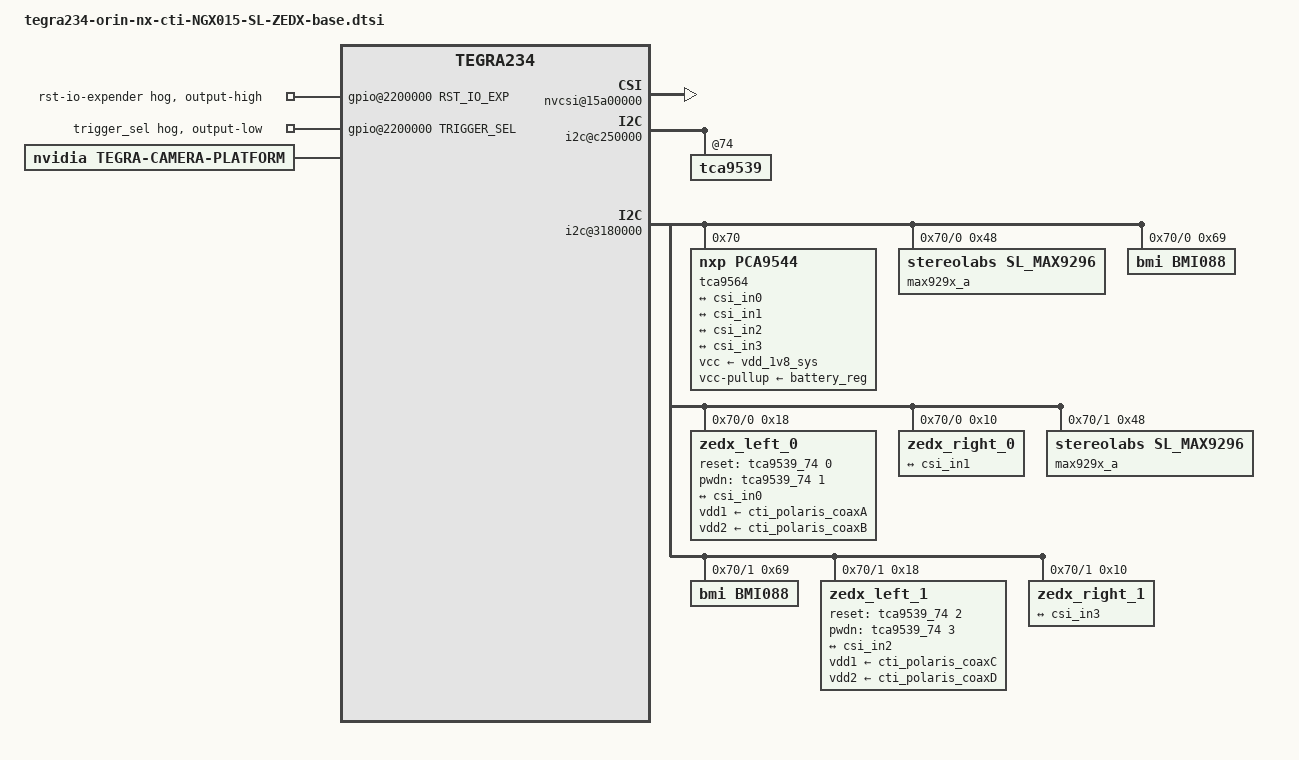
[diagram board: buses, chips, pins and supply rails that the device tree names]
/*
 * Copyright (c) 2022, Connect Tech Inc.  All rights reserved.
 *
 * This program is free software; you can redistribute it and/or modify it
 * under the terms and conditions of the GNU General Public License,
 * version 2, as published by the Free Software Foundation.
 *
 * This program is distributed in the hope it will be useful, but WITHOUT
 * ANY WARRANTY; without even the implied warranty of MERCHANTABILITY or
 * FITNESS FOR A PARTICULAR PURPOSE.  See the GNU General Public License for
 * more details.
 *
 * You should have received a copy of the GNU General Public License
 * along with this program.  If not, see <http://www.gnu.org/licenses/>.
 */

//#include "tegra234-orin-agx-cti-csi.dtsi"
#include "dt-bindings/clock/tegra234-clock.h"

#define SENSOR_COMMON compatible = "stereolabs,zedx"; \
                        clocks = <&bpmp_clks TEGRA234_CLK_EXTPERIPH1>, \
                        <&bpmp_clks TEGRA234_CLK_EXTPERIPH1>; \
                        clock-names = "extperiph1", "pllp_grtba"; \
                        mclk = "extperiph1"; \
                        has-eeprom; \
                        vertical-flip = "true"; \
                        sensor_model ="zedx"; \
                        post_crop_frame_drop = "0"; \
                        use_sensor_mode_id = "true"; \
                        physical_w = "15.0"; \
                        physical_h = "12.5";                        

#define RST_IO_EXP TEGRA234_MAIN_GPIO(AC,1)
#define TRIGGER_SEL TEGRA234_MAIN_GPIO(I,0) //CAM0_RST
#define PWM_CALIB_GPIO TEGRA234_MAIN_GPIO(H,7) //CAM0_PWDN

#define PWR_EN        TEGRA234_MAIN_GPIO(AC, 7)
#define CAM_LANES 2
#define CAM_LANES_STRING "2" 
#define TEGRA_SINTERFACE "serial_g"
#define MODE_VC "0"

#include "tegra234-orin-nx-cti-camera-SL-ZEDX-modes.dtsi"

#define VC_ID0 "0"
#define VC_ID1 "1"
#define VC_ID0_PORTS 0
#define VC_ID1_PORTS 1

&cti_polaris_coaxA{
	regulator-always-on;
};
&cti_polaris_coaxB{
	regulator-always-on;
};
&cti_polaris_coaxC{
	regulator-always-on;
};
&cti_polaris_coaxD{
	regulator-always-on;
};

/ {
    tegra-capture-vi {
        status = "okay";
        num-channels = <4>;
        ports {
            #address-cells = <1>;
            #size-cells = <0>;
            status = "okay";
            port@0 {
                reg = <0>;
                status = "okay";
                vi_in0: endpoint {
                    vc-id = <0>;
                    port-index = <0>;
                    status = "okay";
                    bus-width = <CAM_LANES>;
                    remote-endpoint = <&csi_out0>;
                };
            };
            port@1 {
                status = "okay";
                reg = <1>;
                vi_in1: endpoint {
                    vc-id = <1>;
                    port-index = <0>;
                    status = "okay";
                    bus-width = <CAM_LANES>;
                     remote-endpoint = <&csi_out1>;
                };
            };
            port@2 {
                status = "okay";
                reg = <2>;
                vi_in2: endpoint {
                    vc-id = <0>;
                    port-index = <2>;
                    bus-width = <CAM_LANES>;
                    remote-endpoint = <&csi_out2>;
                    status = "okay";
                };
            };
            port@3{
                status = "okay";
                reg = <3>;
                vi_in3: endpoint {
                    vc-id = <1>;
                    port-index = <2>;
                    bus-width = <CAM_LANES>;
                    remote-endpoint = <&csi_out3>;
                    status = "okay";
                };
            };
        };
    };

    host1x@13e00000 {
        nvcsi@15a00000 {
        num-channels = <4>;
        #address-cells = <1>;
        #size-cells = <0>;
            status = "okay";
            channel@0 {
                status = "okay";
                reg = <0>;
                ports {
                #address-cells = <1>;
                 #size-cells = <0>;
                    port@0 {
                        status = "okay";
                        reg = <0>;
                        csi_in0: endpoint@0 {
                            status = "okay";
                            port-index = <0>;
                            bus-width = <CAM_LANES>;
                            remote-endpoint = <&cam_out0>;
                        };
                    };
                    port@1 {
                        status = "okay";
                        reg = <1>;
                        csi_out0: endpoint@1 {
                            status = "okay";
                            port-index = <0>;
                            bus-width = <CAM_LANES>;
                            remote-endpoint = <&vi_in0>;
                        };
                    };
                };
            };
            channel@1 {
                status = "okay";
                reg = <1>;
                ports {
                #address-cells = <1>;
                #size-cells = <0>;
                        
                port@0 {
                        reg = <0>;
                        status = "okay";
                        csi_in1: endpoint@2 {
                            status = "okay";
                            port-index = <0>;
                            bus-width = <CAM_LANES>;
                            remote-endpoint = <&cam_out1>;
                          };
                        };
                 port@1 {
                        status = "okay";
                        reg = <1>;
                        csi_out1: endpoint@3 {
                            status = "okay";
                            port-index = <0>;
                            bus-width = <CAM_LANES>;
                            remote-endpoint = <&vi_in1>;
                        };
                    };
                };
            };
        channel@2 {
                status = "okay";
                reg = <2>;
                ports {
                    #address-cells = <1>;
                    #size-cells = <0>;
                    port@0 {
                        status = "okay";
                         reg = <0>;
                        csi_in2: endpoint@4 {
                            status = "okay";
                            port-index = <2>;
                             bus-width = <CAM_LANES>;
                            remote-endpoint = <&cam_out2>;
                        };
                    };
                    port@1 {
                        status = "okay";
                        reg = <1>;
                        csi_out2: endpoint@5 {
                            status = "okay";
                            port-index = <2>;
                            bus-width = <CAM_LANES>;
                            remote-endpoint = <&vi_in2>;
                        };
                    };
                };
            };
            channel@3 {
                status = "okay";
                reg = <3>;
                ports {
                #address-cells = <1>;
                #size-cells = <0>;
                    
                    port@0 {
                        reg = <0>;
                        status = "okay";
                        csi_in3: endpoint@6 {
                            status = "okay";
                            port-index = <2>;
                            bus-width = <CAM_LANES>;
                            remote-endpoint = <&cam_out3>;
                        };
                    };
                    port@1 {
                        status = "okay";
                        reg = <1>;
                        csi_out3: endpoint@7 {
                            status = "okay";
                            port-index = <2>;
                            bus-width = <CAM_LANES>;
                            remote-endpoint = <&vi_in3>;
                        };
                    };
                };
            };
        };
    };


    gpio@2200000 {
        camera-control-output-high {
            status = "okay";
            gpio-hog;
            gpios = <RST_IO_EXP 0>;
            output-high;
            label = "rst-io-expender"; 
        };
        camera-control-output-low {
            status = "okay";
            gpio-hog;
            gpios = <TRIGGER_SEL 0>;
            output-low;
            label = "trigger_sel";
        };
    };

    
    i2c@c250000 {

        tca9539@74 {
            tca9539_74_outlow {
                status = "okay";
                gpio-hog;
                gpios = <0 0 1 0 2 0 3 0 4 0 9 0 10 0>;
                output-low;
                gpio-line-names = "RST_A","PWDN_A","RST_B","PWDN_B","TEMP_SNS_PEN", "CFG_CTRL_Nch", "CFG_CTRL_Pch";
            };
            tca9539_74_outhigh {
                status = "okay";
                gpio-hog;
                gpios = < 5 0 6 0 7 0 8 0 11 0 12 0>;
                output-high;
                gpio-line-names = "CAM_PRST#_A","CAM_PRST#_B","CAM_PRST#_C", "CAM_PRST#_D","DES_STATE_RSTA", "DES_STATE_RSTB";
            };
            tca9539_74_input {
                status = "disabled";
            };

        };
    };

    i2c@3180000 {
    status = "okay";
    #address-cells = <1>;
    #size-cells = <0>;
    tca9564@70 {
        status = "okay";
        compatible = "nxp,pca9544";
        reg = <0x70>;
        #address-cells = <1>;
        #size-cells = <0>;
        vcc-supply = <&vdd_1v8_sys>;
        vcc-pullup-supply = <&battery_reg>;
        vcc_lp = "vcc";
        skip_mux_detect = "yes";
        force_bus_start = <0x1e>;
        i2c@0 {
            status = "okay";
            reg = <0>;
            i2c-mux,deselect-on-exit;
            #address-cells = <1>;
            #size-cells = <0>;

            /* deserializer MAX9296 at address 0x48*/
            max929x_a@48 {
                compatible = "stereolabs,sl_max9296";
                reg = <0x48>;
                channel = "a";
            };

            bmi088@69 {
                compatible = "bmi,bmi088";
                reg = <0x69>;
                status = "okay";
                accel_i2c_addr = <0x19>;
                accel_matrix = [01 00 00 00 01 00 00 00 01];
                gyro_matrix = [01 00 00 00 01 00 00 00 01];
            };
        
            /* ZED1 Left Cam*/
            zedx_left_0@18 {
                status = "okay";
                SENSOR_COMMON
                reg = <0x18>;
                def-addr = <0x18>;
                devnode = "video0";
                channel = "a";
                mode = "master";
            vdd1-reg = "vdd1";
            vdd2-reg = "vdd2";
            vdd1-supply = <&cti_polaris_coaxA>;
            vdd2-supply = <&cti_polaris_coaxB>;
                
				sync_sensor_index = <1>;                
                sync_sensor = "ZED_CAM1"; 
                /* For now, the master get the gpios */
                /* In the future, the deserializer will get them */
                reset-gpios = <&tca9539_74 0 GPIO_ACTIVE_HIGH>;
                pwdn-gpios = <&tca9539_74 1 GPIO_ACTIVE_HIGH>;
        //        pwr-gpios = <&tca9539_74 11 GPIO_ACTIVE_LOW>;//<&tegra_main_gpio PWR_EN GPIO_ACTIVE_HIGH>;

#undef TEGRA_SINTERFACE
#define LOCAL_VC_ID VC_ID0
#define TEGRA_SINTERFACE "serial_a"
#define LANE_POLARITY "6" 

                ZEDX_SENSOR_MODE0
                ZEDX_SENSOR_MODE1
                ZEDX_SENSOR_MODE2
                    
                ports {
                    #address-cells = <1>;
                    #size-cells = <0>;
                    port@0 {
                        reg = <0>;
                        cam_out0: endpoint {
                            vc-id = <0>;
                            port-index = <0>;
                            bus-width = <CAM_LANES>;
                            remote-endpoint = <&csi_in0>;
                        };
                    };
                };    

            };

            zedx_right_0@10 {
                status = "okay";
                SENSOR_COMMON
                reg = <0x10>;
                def-addr = <0x10>;
                devnode = "video1";
                channel = "a";
                mode = "slave";
                
				sync_sensor_index = <2>;                                
                sync_sensor = "ZED_CAM1"; 

#undef TEGRA_SINTERFACE
#undef LOCAL_VC_ID
#undef LANE_POLARITY
#define LOCAL_VC_ID VC_ID1
#define TEGRA_SINTERFACE "serial_a"
#define LANE_POLARITY "6"

                ZEDX_SENSOR_MODE0
                ZEDX_SENSOR_MODE1
                ZEDX_SENSOR_MODE2    
            
                ports {
                    #address-cells = <1>;
                    #size-cells = <0>;
                    port@0 {
                        reg = <0>;
                        cam_out1: endpoint {
                            vc-id = <1>;
                            port-index = <0>;
                            bus-width = <CAM_LANES>;
                            remote-endpoint = <&csi_in1>;
                        };
                    };
                };    
            };
         
        };

        i2c@1 {
        status = "okay";
        reg = <1>;
        i2c-mux,deselect-on-exit;
        #address-cells = <1>;
        #size-cells = <0>;
        
        /* deserializer MAX9296 at address 0x48*/
        max929x_a@48 {
            compatible = "stereolabs,sl_max9296";
            reg = <0x48>;
            channel = "b";
        };

        bmi088@69 {
            compatible = "bmi,bmi088";
            reg = <0x69>;
            status = "okay";
            accel_i2c_addr = <0x19>;
            accel_matrix = [01 00 00 00 01 00 00 00 01];
            gyro_matrix = [01 00 00 00 01 00 00 00 01];
            //accelerometer_irq_gpio = //figure out later
        };
    
        zedx_left_1@18 {
                status = "okay";
                SENSOR_COMMON
                reg = <0x18>;
                def-addr = <0x18>;
                devnode = "video2";
                channel = "b";
                mode = "master";
                
				sync_sensor = "ZED_CAM2";
				sync_sensor_index = <1>;
            vdd1-reg = "vdd1";
            vdd2-reg = "vdd2";
            vdd1-supply = <&cti_polaris_coaxC>;
            vdd2-supply = <&cti_polaris_coaxD>;
                
                /* For now, the master get the gpios */
                /* In the future, the deserializer will get them */
                reset-gpios = <&tca9539_74 2 GPIO_ACTIVE_HIGH>;
                pwdn-gpios = <&tca9539_74 3 GPIO_ACTIVE_HIGH>;
              //  pwr-gpios = <&tca9539_74 11 GPIO_ACTIVE_LOW>;//<&tegra_main_gpio PWR_EN GPIO_ACTIVE_HIGH>;
#undef TEGRA_SINTERFACE
#undef LOCAL_VC_ID
#undef LANE_POLARITY
#define LOCAL_VC_ID VC_ID0
#define TEGRA_SINTERFACE "serial_c"
#define LANE_POLARITY "0"

            ZEDX_SENSOR_MODE0
                ZEDX_SENSOR_MODE1
                ZEDX_SENSOR_MODE2
    
            ports {
                #address-cells = <1>;
                #size-cells = <0>;
                port@0 {
                    reg = <0>;
                    cam_out2: endpoint {
                        vc-id = <0>;
                        port-index = <2>;
                        bus-width = <CAM_LANES>;
                        remote-endpoint = <&csi_in2>;
                    };
                };
            };    

        };

        zedx_right_1@10 {
                status = "okay";
                SENSOR_COMMON
                reg = <0x10>;
                def-addr = <0x10>;
                devnode = "video3";
                channel = "b";
                mode = "slave";
                
				sync_sensor = "ZED_CAM2";
				sync_sensor_index = <2>;

#undef TEGRA_SINTERFACE
#undef LOCAL_VC_ID
#undef LANE_POLARITY
#define LOCAL_VC_ID VC_ID1
#define TEGRA_SINTERFACE "serial_c"
#define LANE_POLARITY "0"
                
            ZEDX_SENSOR_MODE0
                ZEDX_SENSOR_MODE1
                ZEDX_SENSOR_MODE2
        
            ports {
                #address-cells = <1>;
                #size-cells = <0>;
                port@0 {
                    reg = <0>;
                    cam_out3: endpoint {
                        vc-id = <1>;
                        port-index = <2>;
                        bus-width = <CAM_LANES>;
                        remote-endpoint = <&csi_in3>;
                    };
                };
            };    
        };
        };

        };
    };

    tegra-camera-platform {
        num_csi_lanes = <8>;
        max_lane_speed = <4000000>;
        min_bits_per_pixel = <10>;
        vi_peak_byte_per_pixel = <2>;
        vi_bw_margin_pct = <25>;
    //max_pixel_rate = <750000>;
        isp_peak_byte_per_pixel = <5>;
        isp_bw_margin_pct = <25>;
    compatible = "nvidia, tegra-camera-platform";
    status = "okay";
        
    modules {
        status = "okay";
        module0 {
            status = "okay";
            badge = "zedx_ar0234";
            position = "bottomleft";
            orientation = "1";
            drivernode0 {
                status = "okay";
                pcl_id = "v4l2_sensor";
                devname = "zedx 30-0018";
                proc-device-tree = "/proc/device-tree/i2c@3180000/tca9564@70/i2c@0/zedx_left_0@18";
            };
            
        };
        module1 {
            status = "okay";
            badge = "zedx_ar0234";
            position = "bottomright";
            orientation = "1";
            drivernode0 {
                status = "okay";
                pcl_id = "v4l2_sensor";
                devname = "zedx 30-0010";
                proc-device-tree = "/proc/device-tree/i2c@3180000/tca9564@70/i2c@0/zedx_right_0@10";    
            };
        };
        module2 {
            status = "okay";
            badge = "zedx_ar0234";
            position = "topleft";
            orientation = "1";
            drivernode0 {
                status = "okay";
                pcl_id = "v4l2_sensor";
                devname = "zedx 31-0018";
                proc-device-tree = "/proc/device-tree/i2c@3180000/tca9564@70/i2c@1/zedx_left_1@18";
            };
        };
        module3 {
            status = "okay";
            badge = "zedx_ar0234";
            position = "topright";
            orientation = "1";
            drivernode0 {
                status = "okay";
                pcl_id = "v4l2_sensor";
                devname = "zedx 31-0010";
                proc-device-tree = "/proc/device-tree/i2c@3180000/tca9564@70/i2c@1/zedx_right_1@10";
            };
        };


        };
    };
};
